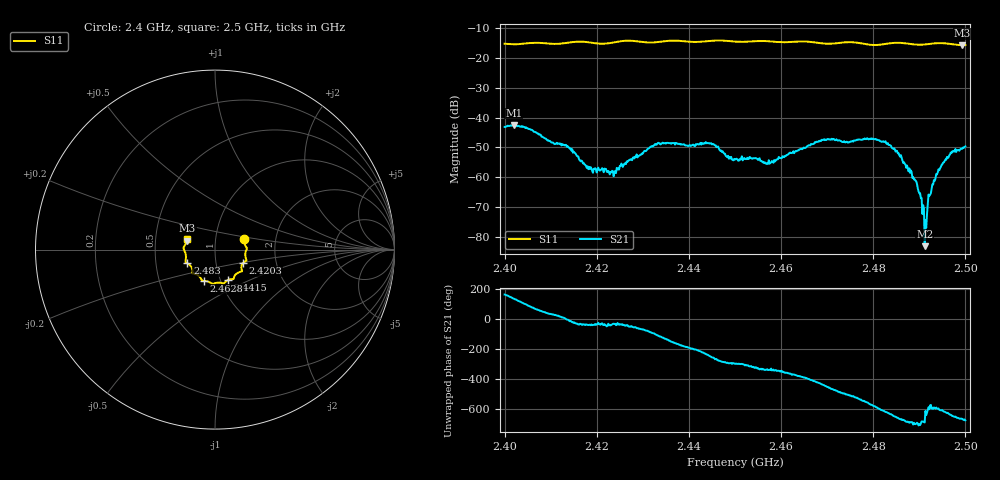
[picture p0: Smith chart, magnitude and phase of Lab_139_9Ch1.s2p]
# Hz S RI R 50
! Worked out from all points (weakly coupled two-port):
!   601 points, 2.4 GHz to 2.5 GHz, reference 50 ohm
!   highest |S21| = -42.53 dB at 2.402 GHz (marker M1); lowest = -83.1 dB at 2.4912 GHz (marker M2)
!   lowest |S11| = -15.8 dB at 2.4993 GHz (marker M3), VSWR 1.39, Z = 36.4 + j3.68 ohm
!   |S11| at or under -10 dB: start of sweep to end of sweep
!   S12 and S22 are empty: the file has one direction only
!   S11 on the Smith chart (normalised r, x): 2.4 GHz: 1.38, +0.16; 2.4203 GHz: 1.35, -0.21; 2.4415 GHz: 1.09, -0.38; 2.4628 GHz: 0.83, -0.30; 2.483 GHz: 0.73, -0.11; 2.5 GHz: 0.73, +0.09
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2.4e9  0.162 0.0567  -0.00675 0.00169  0 0  0 0
2.402e9  0.1641 0.0356  -0.00559 0.00496  0 0  0 0
2.413333e9  0.1708 -0.0451  0.00349 6.68e-05  0 0  0 0
2.416667e9  0.1755 -0.062  0.00156 -0.00108  0 0  0 0
2.420333e9  0.1559 -0.0746  0.00132 -0.000585  0 0  0 0
2.423667e9  0.1473 -0.1051  0.000903 -0.000509  0 0  0 0
2.433333e9  0.1082 -0.148  -0.00127 -0.00356  0 0  0 0
2.4415e9  0.0731 -0.1687  -0.00329 0.00139  0 0  0 0
2.445167e9  0.0513 -0.1865  -0.000818 0.0035  0 0  0 0
2.45e9  0.0296 -0.1844  0.000897 0.00177  0 0  0 0
2.457167e9  -0.0187 -0.1883  0.00158 0.000574  0 0  0 0
2.462833e9  -0.0626 -0.1745  0.00249 -0.00045  0 0  0 0
2.466667e9  -0.0751 -0.1676  0.00241 -0.00263  0 0  0 0
2.483e9  -0.1542 -0.0765  -0.000405 0.00358  0 0  0 0
2.483333e9  -0.1565 -0.0753  -7.91e-05 0.00348  0 0  0 0
2.488667e9  -0.1618 -0.0451  0.000974 0.000254  0 0  0 0
2.49e9  -0.1628 -0.0294  0.000516 0.000153  0 0  0 0
2.491167e9  -0.1661 -0.0159  6.2e-05 3.3e-05  0 0  0 0
2.4925e9  -0.1713 -0.00296  -0.000444 0.000301  0 0  0 0
2.494167e9  -0.1754 0.00785  -0.00072 0.00115  0 0  0 0
2.499333e9  -0.1551 0.0492  0.00184 0.00238  0 0  0 0
2.5e9  -0.1533 0.0579  0.00244 0.0022  0 0  0 0
